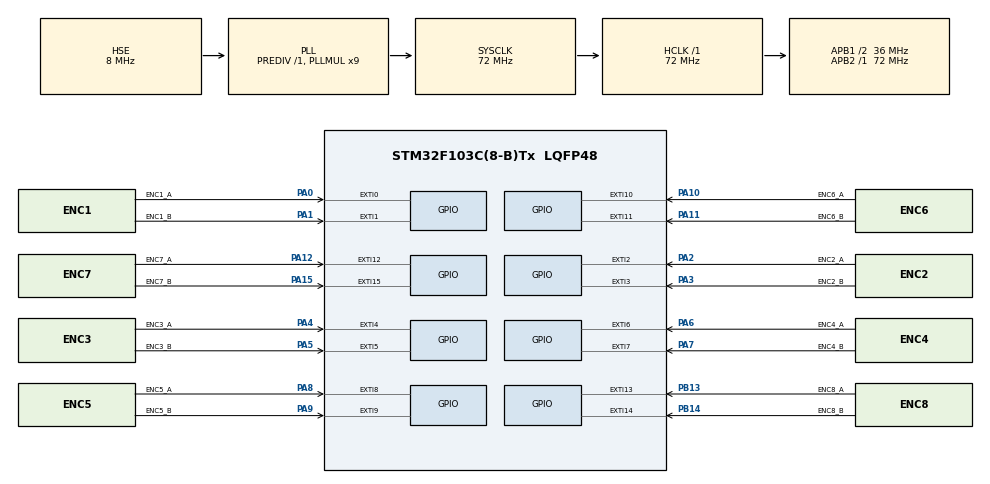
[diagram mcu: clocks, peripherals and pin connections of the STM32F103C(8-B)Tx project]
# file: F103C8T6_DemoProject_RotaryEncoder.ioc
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Mcu.Family=STM32F1
Mcu.Name=STM32F103C(8-B)Tx
Mcu.Package=LQFP48
NVIC.EXTI0_IRQn=true\:0\:0\:false\:false\:true\:true\:true\:true
NVIC.EXTI15_10_IRQn=true\:0\:0\:false\:false\:true\:true\:true\:true
NVIC.EXTI1_IRQn=true\:0\:0\:false\:false\:true\:true\:true\:true
NVIC.EXTI2_IRQn=true\:0\:0\:false\:false\:true\:true\:true\:true
NVIC.EXTI3_IRQn=true\:0\:0\:false\:false\:true\:true\:true\:true
NVIC.EXTI4_IRQn=true\:0\:0\:false\:false\:true\:true\:true\:true
NVIC.EXTI9_5_IRQn=true\:0\:0\:false\:false\:true\:true\:true\:true
NVIC.PriorityGroup=NVIC_PRIORITYGROUP_4
PA0-WKUP.GPIO_Label=ENC1_A
PA0-WKUP.GPIO_ModeDefaultEXTI=GPIO_MODE_IT_RISING_FALLING
PA0-WKUP.Signal=GPXTI0
PA1.GPIO_Label=ENC1_B
PA1.GPIO_ModeDefaultEXTI=GPIO_MODE_IT_RISING_FALLING
PA1.Signal=GPXTI1
PA10.GPIO_Label=ENC6_A
PA10.Signal=GPXTI10
PA11.GPIO_Label=ENC6_B
PA11.Signal=GPXTI11
PA12.GPIO_Label=ENC7_A
PA12.Signal=GPXTI12
PA13.Mode=Serial_Wire
PA13.Signal=SYS_JTMS-SWDIO
PA14.Mode=Serial_Wire
PA14.Signal=SYS_JTCK-SWCLK
PA15.GPIO_Label=ENC7_B
PA15.Signal=GPXTI15
PA2.GPIO_Label=ENC2_A
PA2.Signal=GPXTI2
PA3.GPIO_Label=ENC2_B
PA3.Signal=GPXTI3
PA4.GPIO_Label=ENC3_A
PA4.Signal=GPXTI4
PA5.GPIO_Label=ENC3_B
PA5.Signal=GPXTI5
PA6.GPIO_Label=ENC4_A
PA6.Signal=GPXTI6
PA7.GPIO_Label=ENC4_B
PA7.Signal=GPXTI7
PA8.GPIO_Label=ENC5_A
PA8.Signal=GPXTI8
PA9.GPIO_Label=ENC5_B
PA9.Signal=GPXTI9
PB13.GPIO_Label=ENC8_A
PB13.Signal=GPXTI13
PB14.GPIO_Label=ENC8_B
PB14.Signal=GPXTI14
PD0-OSC_IN.Mode=HSE-External-Oscillator
PD0-OSC_IN.Signal=RCC_OSC_IN
PD1-OSC_OUT.Mode=HSE-External-Oscillator
PD1-OSC_OUT.Signal=RCC_OSC_OUT
ProjectManager.HeapSize=0x200
ProjectManager.StackSize=0x400
ProjectManager.TargetToolchain=STM32CubeIDE
RCC.AHBFreq_Value=72000000
RCC.APB1CLKDivider=RCC_HCLK_DIV2
RCC.APB1Freq_Value=36000000
RCC.APB1TimFreq_Value=72000000
RCC.APB2Freq_Value=72000000
RCC.APB2TimFreq_Value=72000000
RCC.HCLKFreq_Value=72000000
RCC.PLLMUL=RCC_PLL_MUL9
RCC.PLLSourceVirtual=RCC_PLLSOURCE_HSE
RCC.SYSCLKFreq_VALUE=72000000
RCC.SYSCLKSource=RCC_SYSCLKSOURCE_PLLCLK
RCC.USBFreq_Value=72000000
board=custom

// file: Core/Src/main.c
/* USER CODE BEGIN Header */
/**
  ******************************************************************************
  * @file           : main.c
  * @brief          : Main program body
  ******************************************************************************
  * @attention
  *
  * Copyright (c) 2024 STMicroelectronics.
  * All rights reserved.
  *
  * This software is licensed under terms that can be found in the LICENSE file
  * in the root directory of this software component.
  * If no LICENSE file comes with this software, it is provided AS-IS.
  *
  ******************************************************************************
  */
/* USER CODE END Header */
#include "main.h"

/* USER CODE BEGIN Includes */
#include "RotaryEncoder.h"
#include <stdint.h>

/* USER CODE END Includes */

/* USER CODE BEGIN PV */
ENC_TypeDef Encoder;
uint32_t TickCounter = 0;
/* USER CODE END PV */

void SystemClock_Config(void);
static void MX_GPIO_Init(void);

int main(void)
{

  /* MCU Configuration--------------------------------------------------------*/

  /* Reset of all peripherals, Initializes the Flash interface and the Systick. */
  HAL_Init();

  /* Configure the system clock */
  SystemClock_Config();

  /* Initialize all configured peripherals */
  MX_GPIO_Init();
  /* USER CODE BEGIN 2 */
  Encoder_init_PinA(&Encoder, GPIOA, GPIO_PIN_0);
  Encoder_init_PinB(&Encoder, GPIOA, GPIO_PIN_1);
  uint16_t DebounceTime = 2;
  Encoder_init_DebounceTimeInMs(&Encoder, DebounceTime);
  /* USER CODE END 2 */

  /* Infinite loop */
  /* USER CODE BEGIN WHILE */
  while (1)
  {
    Encoder_update(&Encoder);

    ENC_enum_Td Tick;
    Tick = Encoder_get_Tick(&Encoder);

    if(Tick == ENC_TICK_LEFT)
    {
      if(TickCounter > 0)
      {
        TickCounter--;
      }
      else
      {
        TickCounter = 0;
      }
    }
    else if (Tick == ENC_TICK_RIGHT)
    {
      if(TickCounter < UINT32_MAX)
      {
        TickCounter++;
      }
      else
      {
        TickCounter = UINT32_MAX;
      }
    }
    else
    {
      ;
    }
    /* USER CODE END WHILE */

  }
}

void SystemClock_Config(void)
{
  RCC_OscInitTypeDef RCC_OscInitStruct = {0};
  RCC_ClkInitTypeDef RCC_ClkInitStruct = {0};

  /** Initializes the RCC Oscillators according to the specified parameters
  * in the RCC_OscInitTypeDef structure.
  */
  RCC_OscInitStruct.OscillatorType = RCC_OSCILLATORTYPE_HSE;
  RCC_OscInitStruct.HSEState = RCC_HSE_ON;
  RCC_OscInitStruct.HSEPredivValue = RCC_HSE_PREDIV_DIV1;
  RCC_OscInitStruct.HSIState = RCC_HSI_ON;
  RCC_OscInitStruct.PLL.PLLState = RCC_PLL_ON;
  RCC_OscInitStruct.PLL.PLLSource = RCC_PLLSOURCE_HSE;
  RCC_OscInitStruct.PLL.PLLMUL = RCC_PLL_MUL9;
  if (HAL_RCC_OscConfig(&RCC_OscInitStruct) != HAL_OK)
  {
    Error_Handler();
  }

  /** Initializes the CPU, AHB and APB buses clocks
  */
  RCC_ClkInitStruct.ClockType = RCC_CLOCKTYPE_HCLK|RCC_CLOCKTYPE_SYSCLK
                              |RCC_CLOCKTYPE_PCLK1|RCC_CLOCKTYPE_PCLK2;
  RCC_ClkInitStruct.SYSCLKSource = RCC_SYSCLKSOURCE_PLLCLK;
  RCC_ClkInitStruct.AHBCLKDivider = RCC_SYSCLK_DIV1;
  RCC_ClkInitStruct.APB1CLKDivider = RCC_HCLK_DIV2;
  RCC_ClkInitStruct.APB2CLKDivider = RCC_HCLK_DIV1;

  if (HAL_RCC_ClockConfig(&RCC_ClkInitStruct, FLASH_LATENCY_2) != HAL_OK)
  {
    Error_Handler();
  }
}

static void MX_GPIO_Init(void)
{
  GPIO_InitTypeDef GPIO_InitStruct = {0};

  /* GPIO Ports Clock Enable */
  __HAL_RCC_GPIOD_CLK_ENABLE();
  __HAL_RCC_GPIOA_CLK_ENABLE();
  __HAL_RCC_GPIOB_CLK_ENABLE();

  /*Configure GPIO pins : ENC1_A_Pin ENC1_B_Pin */
  GPIO_InitStruct.Pin = ENC1_A_Pin|ENC1_B_Pin;
  GPIO_InitStruct.Mode = GPIO_MODE_IT_RISING_FALLING;
  GPIO_InitStruct.Pull = GPIO_NOPULL;
  HAL_GPIO_Init(GPIOA, &GPIO_InitStruct);

  /*Configure GPIO pins : ENC2_A_Pin ENC2_B_Pin ENC3_A_Pin ENC3_B_Pin
                           ENC4_A_Pin ENC4_B_Pin ENC5_A_Pin ENC5_B_Pin
                           ENC6_A_Pin ENC6_B_Pin ENC7_A_Pin ENC7_B_Pin */
  GPIO_InitStruct.Pin = ENC2_A_Pin|ENC2_B_Pin|ENC3_A_Pin|ENC3_B_Pin
                          |ENC4_A_Pin|ENC4_B_Pin|ENC5_A_Pin|ENC5_B_Pin
                          |ENC6_A_Pin|ENC6_B_Pin|ENC7_A_Pin|ENC7_B_Pin;
  GPIO_InitStruct.Mode = GPIO_MODE_IT_RISING;
  GPIO_InitStruct.Pull = GPIO_NOPULL;
  HAL_GPIO_Init(GPIOA, &GPIO_InitStruct);

  /*Configure GPIO pins : ENC8_A_Pin ENC8_B_Pin */
  GPIO_InitStruct.Pin = ENC8_A_Pin|ENC8_B_Pin;
  GPIO_InitStruct.Mode = GPIO_MODE_IT_RISING;
  GPIO_InitStruct.Pull = GPIO_NOPULL;
  HAL_GPIO_Init(GPIOB, &GPIO_InitStruct);

  /* EXTI interrupt init*/
  HAL_NVIC_SetPriority(EXTI0_IRQn, 0, 0);
  HAL_NVIC_EnableIRQ(EXTI0_IRQn);

  HAL_NVIC_SetPriority(EXTI1_IRQn, 0, 0);
  HAL_NVIC_EnableIRQ(EXTI1_IRQn);

  HAL_NVIC_SetPriority(EXTI2_IRQn, 0, 0);
  HAL_NVIC_EnableIRQ(EXTI2_IRQn);

  HAL_NVIC_SetPriority(EXTI3_IRQn, 0, 0);
  HAL_NVIC_EnableIRQ(EXTI3_IRQn);

  HAL_NVIC_SetPriority(EXTI4_IRQn, 0, 0);
  HAL_NVIC_EnableIRQ(EXTI4_IRQn);

  HAL_NVIC_SetPriority(EXTI9_5_IRQn, 0, 0);
  HAL_NVIC_EnableIRQ(EXTI9_5_IRQn);

  HAL_NVIC_SetPriority(EXTI15_10_IRQn, 0, 0);
  HAL_NVIC_EnableIRQ(EXTI15_10_IRQn);

}

/* USER CODE BEGIN 4 */
void HAL_GPIO_EXTI_Callback(uint16_t GPIO_Pin)
{
  Encoder_manage_Interrupt(&Encoder, GPIO_Pin);
}
/* USER CODE END 4 */

void Error_Handler(void)
{
  __disable_irq();
  while (1)
  {
  }
}
